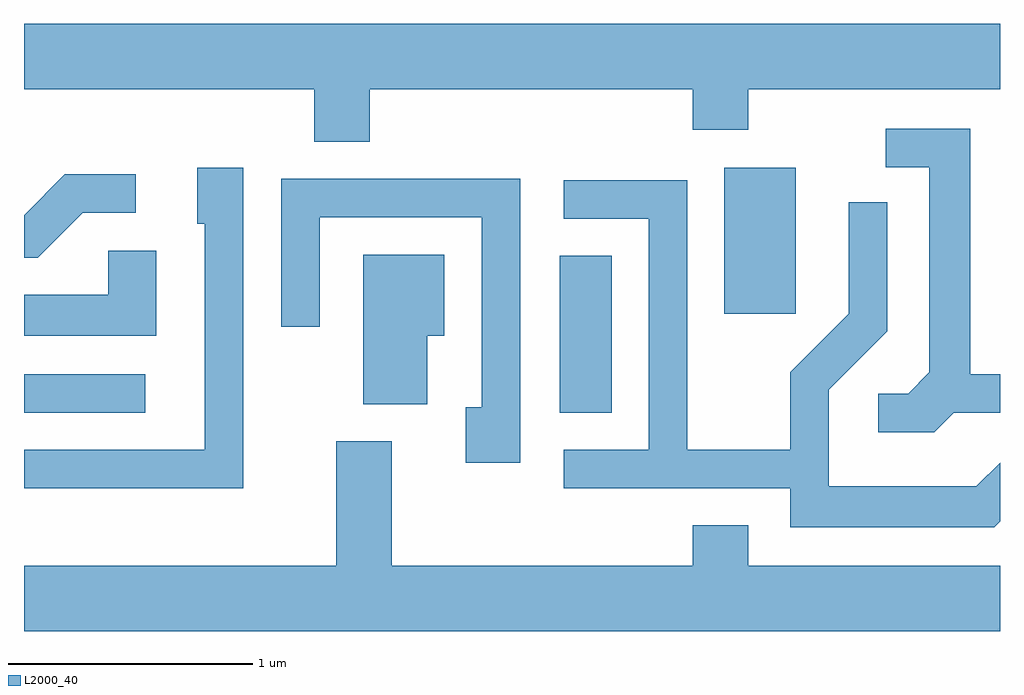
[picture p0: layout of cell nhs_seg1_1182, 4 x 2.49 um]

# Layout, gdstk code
import gdstk
lib = gdstk.Library(unit=1e-6, precision=1e-09)
def R(c, l, rs):  # rectangles x0, y0, x1, y1
    for r in rs: c.add(gdstk.rectangle(r[:2], r[2:], *l))
def P(c, l, *ps):  # polygons
    for p in ps: c.add(gdstk.Polygon(p, *l))
L2000_40 = (2000, 40)

nhs_seg1_1182 = lib.new_cell('nhs_seg1_1182')
R(nhs_seg1_1182, L2000_40, [(221.611,907.131,222.108,907.289), (223.806,907.131,224.019,907.774), (224.481,907.536,224.774,908.134)])
P(nhs_seg1_1182, L2000_40, [(223.029,908.456),(224.351,908.456),(224.351,908.291),(224.579,908.291),(224.579,908.456),(225.611,908.456),(225.611,908.724),(221.611,908.724),(221.611,908.456),(222.801,908.456),(222.801,908.241),(223.029,908.241)],
  [(225.422,907.131),(225.611,907.131),(225.611,907.289),(225.489,907.289),(225.489,908.294),(225.143,908.294),(225.143,908.136),(225.321,908.136),(225.321,907.297),(225.234,907.209),(225.113,907.209),(225.113,907.051),(225.342,907.051)],
  [(222.509,908.134),(222.321,908.134),(222.321,907.906),(222.351,907.906),(222.351,906.979),(221.611,906.979),(221.611,906.821),(222.509,906.821)],
  [(221.852,907.951),(222.068,907.951),(222.068,908.109),(221.779,908.109),(221.611,907.941),(221.611,907.766),(221.667,907.766)],
  [(223.644,908.089),(222.666,908.089),(222.666,907.483),(222.824,907.483),(222.824,907.931),(223.486,907.931),(223.486,907.154),(223.421,907.154),(223.421,906.926),(223.644,906.926)],
  [(225.611,906.685),(225.611,906.926),(225.514,906.829),(224.909,906.829),(224.909,907.224),(225.149,907.464),(225.149,907.993),(224.991,907.993),(224.991,907.537),(224.751,907.297),(224.751,906.979),(224.329,906.979),(224.329,908.084),(223.823,908.084),(223.823,907.926),(224.171,907.926),(224.171,906.979),(223.823,906.979),(223.823,906.821),(224.751,906.821),(224.751,906.661),(225.587,906.661)],
  [(222.154,907.794),(221.956,907.794),(221.956,907.614),(221.611,907.614),(221.611,907.446),(222.154,907.446)],
  [(223.264,907.446),(223.334,907.446),(223.334,907.779),(223.001,907.779),(223.001,907.166),(223.264,907.166)],
  [(225.611,906.504),(224.579,906.504),(224.579,906.669),(224.351,906.669),(224.351,906.504),(223.119,906.504),(223.119,907.014),(222.891,907.014),(222.891,906.504),(221.611,906.504),(221.611,906.236),(225.611,906.236)])

lib.write_gds('nhs_seg1_1182.gds')
